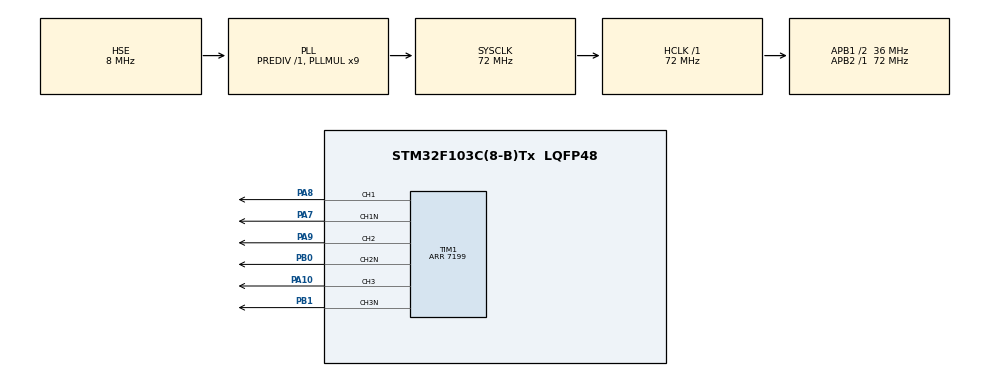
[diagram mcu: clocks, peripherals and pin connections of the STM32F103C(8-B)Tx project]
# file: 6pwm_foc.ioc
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Mcu.Family=STM32F1
Mcu.Name=STM32F103C(8-B)Tx
Mcu.Package=LQFP48
Mcu.UserConstants=tim_pwm,7199
NVIC.PriorityGroup=NVIC_PRIORITYGROUP_4
PA10.Signal=S_TIM1_CH3
PA13.Mode=Serial_Wire
PA13.Signal=SYS_JTMS-SWDIO
PA14.Mode=Serial_Wire
PA14.Signal=SYS_JTCK-SWCLK
PA7.Mode=PWM Generation1 CH1 CH1N
PA7.Signal=TIM1_CH1N
PA8.Signal=S_TIM1_CH1
PA9.Signal=S_TIM1_CH2
PB0.Mode=PWM Generation2 CH2 CH2N
PB0.Signal=TIM1_CH2N
PB1.Mode=PWM Generation3 CH3 CH3N
PB1.Signal=TIM1_CH3N
PD0-OSC_IN.Mode=HSE-External-Oscillator
PD0-OSC_IN.Signal=RCC_OSC_IN
PD1-OSC_OUT.Mode=HSE-External-Oscillator
PD1-OSC_OUT.Signal=RCC_OSC_OUT
ProjectManager.HeapSize=0x200
ProjectManager.StackSize=0x400
ProjectManager.TargetToolchain=MDK-ARM V5.32
RCC.AHBFreq_Value=72000000
RCC.APB1CLKDivider=RCC_HCLK_DIV2
RCC.APB1Freq_Value=36000000
RCC.APB1TimFreq_Value=72000000
RCC.APB2Freq_Value=72000000
RCC.APB2TimFreq_Value=72000000
RCC.HCLKFreq_Value=72000000
RCC.PLLMUL=RCC_PLL_MUL9
RCC.PLLSourceVirtual=RCC_PLLSOURCE_HSE
RCC.SYSCLKFreq_VALUE=72000000
RCC.SYSCLKSource=RCC_SYSCLKSOURCE_PLLCLK
RCC.USBFreq_Value=72000000
SH.S_TIM1_CH1.0=TIM1_CH1,PWM Generation1 CH1 CH1N
SH.S_TIM1_CH2.0=TIM1_CH2,PWM Generation2 CH2 CH2N
SH.S_TIM1_CH3.0=TIM1_CH3,PWM Generation3 CH3 CH3N
TIM1.AutoReloadPreload=TIM_AUTORELOAD_PRELOAD_ENABLE
TIM1.Channel-PWM\ Generation1\ CH1\ CH1N=TIM_CHANNEL_1
TIM1.Channel-PWM\ Generation2\ CH2\ CH2N=TIM_CHANNEL_2
TIM1.Channel-PWM\ Generation3\ CH3\ CH3N=TIM_CHANNEL_3
TIM1.CounterMode=TIM_COUNTERMODE_CENTERALIGNED1
TIM1.DeadTime=29
TIM1.LockLevel=TIM_LOCKLEVEL_1
TIM1.Period=7199
TIM1.TIM_MasterOutputTrigger=TIM_TRGO_UPDATE
VP_TIM1_VS_ClockSourceINT.Mode=Internal
board=custom

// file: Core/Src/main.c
/* USER CODE BEGIN Header */
/**
  ******************************************************************************
  * @file           : main.c
  * @brief          : Main program body
  ******************************************************************************
  * @attention
  *
  * Copyright (c) 2026 STMicroelectronics.
  * All rights reserved.
  *
  * This software is licensed under terms that can be found in the LICENSE file
  * in the root directory of this software component.
  * If no LICENSE file comes with this software, it is provided AS-IS.
  *
  ******************************************************************************
  */
/* USER CODE END Header */
#include "main.h"
#include "tim.h"
#include "gpio.h"

/* USER CODE BEGIN PD */
#define PI          3.14159265358979323846f

//初始变量及函数定义
#define _constrain(amt,low,high) ((amt)<(low)?(low):((amt)>(high)?(high):(amt)))
//宏定义实现的一个约束函数,用于限制一个值的范围。
//具体来说，该宏定义的名称为 _constrain，接受三个参数 amt、low 和 high，分别表示要限制的值、最小值和最大值。该宏定义的实现使用了三元运算符，根据 amt 是否小于 low 或大于 high，返回其中的最大或最小值，或者返回原值。
//换句话说，如果 amt 小于 low，则返回 low；如果 amt 大于 high，则返回 high；否则返回 amt。这样，_constrain(amt, low, high) 就会将 amt 约束在 [low, high] 的范围内。

/* USER CODE END PD */

/* USER CODE BEGIN PV */
float voltage_power_supply=1;
float shaft_angle=0,open_loop_timestamp=0;
float zero_electric_angle=0,Ualpha,Ubeta=0,Ua=0,Ub=0,Uc=0,dc_a=0,dc_b=0,dc_c=0;
/* USER CODE END PV */

void SystemClock_Config(void);
/* USER CODE BEGIN PFP */

// 电角度求解
float _electricalAngle(float shaft_angle, int pole_pairs) {
  return (shaft_angle * pole_pairs);
}

// 归一化角度到 [0,2PI]
float _normalizeAngle(float angle){
  float a = fmod(angle, 2*PI);   //取余运算可以用于归一化，列出特殊值例子算便知
  return a >= 0 ? a : (a + 2*PI);
  //三目运算符。格式：condition ? expr1 : expr2
  //其中，condition 是要求值的条件表达式，如果条件成立，则返回 expr1 的值，否则返回 expr2 的值。可以将三目运算符视为 if-else 语句的简化形式。
  //fmod 函数的余数的符号与除数相同。因此，当 angle 的值为负数时，余数的符号将与 _2PI 的符号相反。也就是说，如果 angle 的值小于 0 且 _2PI 的值为正数，则 fmod(angle, _2PI) 的余数将为负数。
  //例如，当 angle 的值为 -PI/2，_2PI 的值为 2PI 时，fmod(angle, _2PI) 将返回一个负数。在这种情况下，可以通过将负数的余数加上 _2PI 来将角度归一化到 [0, 2PI] 的范围内，以确保角度的值始终为正数。
}

//void setPwm(float Ua, float Ub, float Uc)
//{
//	  // 计算占空比
//  // 限制占空比从0到1
//  dc_a = _constrain(Ua / voltage_power_supply, 0.0f , 1.0f );
//  dc_b = _constrain(Ub / voltage_power_supply, 0.0f , 1.0f );
//  dc_c = _constrain(Uc / voltage_power_supply, 0.0f , 1.0f );
//
//	__HAL_TIM_SET_COMPARE(&htim1,TIM_CHANNEL_1,dc_a*htim1.Init.Period);
//	__HAL_TIM_SET_COMPARE(&htim1,TIM_CHANNEL_2,dc_b*htim1.Init.Period);
//	__HAL_TIM_SET_COMPARE(&htim1,TIM_CHANNEL_3,dc_c*htim1.Init.Period);
//}

// 修正的PWM设置函数 - 针对中央对齐模式
void setPwm(float Ua, float Ub, float Uc)
{
    // 限制相电压在0到电源电压之间
    dc_a = _constrain(Ua, 0.0f, voltage_power_supply);
    dc_b = _constrain(Ub, 0.0f, voltage_power_supply);
    dc_c = _constrain(Uc, 0.0f, voltage_power_supply);

    // 对于PWM模式2（中央对齐模式1）
    // 实际占空比 = CCR / ARR
    // 但需要根据实际硬件连接验证极性

    // 方法1：直接计算占空比（假设高电平有效）
    uint32_t ccr_a = (uint32_t)(dc_a * 7200 / voltage_power_supply);
    uint32_t ccr_b = (uint32_t)(dc_b * 7200 / voltage_power_supply);
    uint32_t ccr_c = (uint32_t)(dc_c * 7200 / voltage_power_supply);

    // 安全限制
    ccr_a = ccr_a > 7200 ? 7200 : ccr_a;
    ccr_b = ccr_b > 7200 ? 7200 : ccr_b;
    ccr_c = ccr_c > 7200 ? 7200 : ccr_c;

    __HAL_TIM_SET_COMPARE(&htim1, TIM_CHANNEL_1, ccr_a);
    __HAL_TIM_SET_COMPARE(&htim1, TIM_CHANNEL_2, ccr_b);
    __HAL_TIM_SET_COMPARE(&htim1, TIM_CHANNEL_3, ccr_c);
}

void setPhaseVoltage(float Uq, float Ud, float angle_el) {
    angle_el = _normalizeAngle(angle_el + zero_electric_angle);

    // 帕克逆变换
    Ualpha = Ud * cosf(angle_el) - Uq * sinf(angle_el);
    Ubeta = Ud * sinf(angle_el) + Uq * cosf(angle_el);

    // 空间矢量PWM - 使用更稳定的计算方法
    // 直接计算三相电压
    Ua = Ualpha;
    Ub = -0.5f * Ualpha + 0.8660254f * Ubeta;
    Uc = -0.5f * Ualpha - 0.8660254f * Ubeta;

    // 计算电压偏移到0-voltage_power_supply范围
    float v_offset = (fmaxf(fmaxf(Ua, Ub), Uc) + fminf(fminf(Ua, Ub), Uc)) / 2.0f;

    Ua = Ua - v_offset + voltage_power_supply / 2.0f;
    Ub = Ub - v_offset + voltage_power_supply / 2.0f;
    Uc = Uc - v_offset + voltage_power_supply / 2.0f;

    setPwm(Ua, Ub, Uc);
}

float velocityOpenloop(float target_velocity) {
    static uint32_t last_time = 0;
    uint32_t now_ms = HAL_GetTick();

    // 计算时间间隔（秒）
    float Ts = (float)(now_ms - last_time) * 1e-3f;

    // 如果时间间隔异常，使用固定时间
    if (Ts <= 0 || Ts > 0.1f) {
        Ts = 0.001f;  // 1ms
    }

    // 累计角度
    shaft_angle = _normalizeAngle(shaft_angle + target_velocity * Ts);

    // 降低电压梯度，避免突变
    static float current_Uq = 0;
    float target_Uq = voltage_power_supply / 3.0f;

    // 添加低通滤波，减少突变
    float alpha = 0.1f;  // 滤波系数
    current_Uq = current_Uq * (1 - alpha) + target_Uq * alpha;

    setPhaseVoltage(current_Uq, 0, _electricalAngle(shaft_angle, 7));

    last_time = now_ms;
    return current_Uq;
}
// 在PWM设置函数中添加死区补偿
void setPwmWithDeadtime(float Ua, float Ub, float Uc) {
    // 假设死区时间为100ns，PWM周期为1/(72MHz/7200)≈100us
    float deadtime_compensation = 0.01f;  // 1%补偿

    // 应用死区补偿
    Ua = Ua * (1.0f - deadtime_compensation);
    Ub = Ub * (1.0f - deadtime_compensation);
    Uc = Uc * (1.0f - deadtime_compensation);

    setPwm(Ua, Ub, Uc);
}

//void setPhaseVoltage(float Uq,float Ud, float angle_el) {
//  angle_el = _normalizeAngle(angle_el + zero_electric_angle);
//  // 帕克逆变换
//Ualpha = Ud*cos(angle_el) - Uq*sin(angle_el);
//Ubeta = Ud*sin(angle_el) + Uq*cos(angle_el);

//  // 克拉克逆变换
//  Ua = Ualpha + voltage_power_supply/2;
//Ub = -0.5f * Ualpha + 0.86602540378f * Ubeta + voltage_power_supply/2;
//Uc = -0.5f * Ualpha - 0.86602540378f * Ubeta + voltage_power_supply/2;
//  setPwm(Ua,Ub,Uc);
//}

//float velocityOpenloop(float target_velocity){
//  unsigned long now_us = HAL_GetTick();  //获取从开启芯片以来的微秒数，它的精度是 4 微秒。 micros() 返回的是一个无符号长整型（unsigned long）的值
//
//  //计算当前每个Loop的运行时间间隔
//  float Ts = (now_us - open_loop_timestamp) * 1e-6f;

//  //由于 micros() 函数返回的时间戳会在大约 70 分钟之后重新开始计数，在由70分钟跳变到0时，TS会出现异常，因此需要进行修正。如果时间间隔小于等于零或大于 0.5 秒，则将其设置为一个较小的默认值，即 1e-3f
//  if(Ts <= 0 || Ts > 0.5f) Ts = 1e-3f;
//

//  // 通过乘以时间间隔和目标速度来计算需要转动的机械角度，存储在 shaft_angle 变量中。在此之前，还需要对轴角度进行归一化，以确保其值在 0 到 2π 之间。
//  shaft_angle = _normalizeAngle(shaft_angle + target_velocity*Ts);
//  //以目标速度为 10 rad/s 为例，如果时间间隔是 1 秒，则在每个循环中需要增加 10 * 1 = 10 弧度的角度变化量，才能使电机转动到目标速度。
//  //如果时间间隔是 0.1 秒，那么在每个循环中需要增加的角度变化量就是 10 * 0.1 = 1 弧度，才能实现相同的目标速度。因此，电机轴的转动角度取决于目标速度和时间间隔的乘积。

//  // 使用早前设置的voltage_power_supply的1/3作为Uq值，这个值会直接影响输出力矩
//  // 最大只能设置为Uq = voltage_power_supply/2，否则ua,ub,uc会超出供电电压限幅
//  float Uq = voltage_power_supply/3;
//
//  setPhaseVoltage(Uq,  0, _electricalAngle(shaft_angle, 7));
//
//  open_loop_timestamp = now_us;  //用于计算下一个时间间隔

//  return Uq;
//}

/* USER CODE END PFP */

int main(void)
{

  /* MCU Configuration--------------------------------------------------------*/

  /* Reset of all peripherals, Initializes the Flash interface and the Systick. */
  HAL_Init();

  /* Configure the system clock */
  SystemClock_Config();

  /* Initialize all configured peripherals */
  MX_GPIO_Init();
  MX_TIM1_Init();

  /* Infinite loop */
  /* USER CODE BEGIN WHILE */
	HAL_TIM_Base_Start(&htim1);

	HAL_TIM_PWM_Start(&htim1,TIM_CHANNEL_1);
	HAL_TIM_PWM_Start(&htim1,TIM_CHANNEL_2);
	HAL_TIM_PWM_Start(&htim1,TIM_CHANNEL_3);

  while (1)
  {
		  // 固定控制频率为1kHz
    static uint32_t last_control_time = 0;
    uint32_t now = HAL_GetTick();

    if (now - last_control_time >= 1) {  // 1ms控制周期
        velocityOpenloop(5);  // 5rad/s

        // 可以添加调试输出
        // printf("Angle: %f, Uq: %f\r\n", shaft_angle, current_Uq);

        last_control_time = now;
    }

    // 添加少量延时避免CPU占用率过高
    HAL_Delay(1);

//		setPwm(5,0,0);
//		HAL_Delay(10);
//		setPwm(5,5,0);
//		HAL_Delay(10);
//		setPwm(0,5,0);
//		HAL_Delay(10);
//		setPwm(0,5,5);
//		HAL_Delay(10);
//		setPwm(0,0,5);
//		HAL_Delay(10);
//		setPwm(5,0,5);
//		HAL_Delay(10);

    /* USER CODE END WHILE */

  }
}

void SystemClock_Config(void)
{
  RCC_OscInitTypeDef RCC_OscInitStruct = {0};
  RCC_ClkInitTypeDef RCC_ClkInitStruct = {0};

  /** Initializes the RCC Oscillators according to the specified parameters
  * in the RCC_OscInitTypeDef structure.
  */
  RCC_OscInitStruct.OscillatorType = RCC_OSCILLATORTYPE_HSE;
  RCC_OscInitStruct.HSEState = RCC_HSE_ON;
  RCC_OscInitStruct.HSEPredivValue = RCC_HSE_PREDIV_DIV1;
  RCC_OscInitStruct.HSIState = RCC_HSI_ON;
  RCC_OscInitStruct.PLL.PLLState = RCC_PLL_ON;
  RCC_OscInitStruct.PLL.PLLSource = RCC_PLLSOURCE_HSE;
  RCC_OscInitStruct.PLL.PLLMUL = RCC_PLL_MUL9;
  if (HAL_RCC_OscConfig(&RCC_OscInitStruct) != HAL_OK)
  {
    Error_Handler();
  }

  /** Initializes the CPU, AHB and APB buses clocks
  */
  RCC_ClkInitStruct.ClockType = RCC_CLOCKTYPE_HCLK|RCC_CLOCKTYPE_SYSCLK
                              |RCC_CLOCKTYPE_PCLK1|RCC_CLOCKTYPE_PCLK2;
  RCC_ClkInitStruct.SYSCLKSource = RCC_SYSCLKSOURCE_PLLCLK;
  RCC_ClkInitStruct.AHBCLKDivider = RCC_SYSCLK_DIV1;
  RCC_ClkInitStruct.APB1CLKDivider = RCC_HCLK_DIV2;
  RCC_ClkInitStruct.APB2CLKDivider = RCC_HCLK_DIV1;

  if (HAL_RCC_ClockConfig(&RCC_ClkInitStruct, FLASH_LATENCY_2) != HAL_OK)
  {
    Error_Handler();
  }
}

void Error_Handler(void)
{
  __disable_irq();
  while (1)
  {
  }
}
